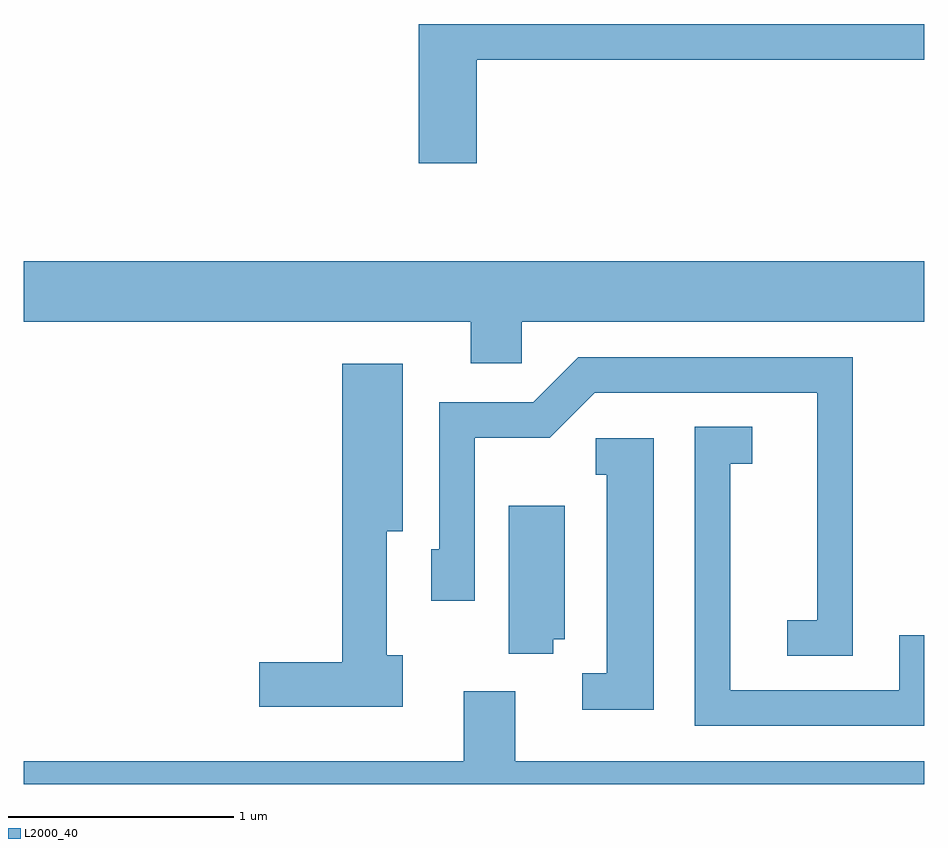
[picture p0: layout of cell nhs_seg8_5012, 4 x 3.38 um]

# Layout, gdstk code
import gdstk
lib = gdstk.Library(unit=1e-6, precision=1e-09)
def P(c, l, *ps):  # polygons
    for p in ps: c.add(gdstk.Polygon(p, *l))
L2000_40 = (2000, 40)

nhs_seg8_5012 = lib.new_cell('nhs_seg8_5012')
P(nhs_seg8_5012, L2000_40, [(337.624,1857.561),(339.611,1857.561),(339.611,1857.719),(337.366,1857.719),(337.366,1857.101),(337.624,1857.101)],
  [(337.824,1856.396),(339.611,1856.396),(339.611,1856.664),(335.611,1856.664),(335.611,1856.396),(337.596,1856.396),(337.596,1856.211),(337.824,1856.211)],
  [(339.294,1856.239),(338.074,1856.239),(337.874,1856.039),(337.456,1856.039),(337.456,1855.384),(337.421,1855.384),(337.421,1855.156),(337.614,1855.156),(337.614,1855.881),(337.947,1855.881),(338.147,1856.081),(339.136,1856.081),(339.136,1855.069),(339.003,1855.069),(339.003,1854.911),(339.294,1854.911)],
  [(337.294,1854.914),(337.224,1854.914),(337.224,1855.466),(337.294,1855.466),(337.294,1856.209),(337.026,1856.209),(337.026,1854.884),(336.656,1854.884),(336.656,1854.686),(337.294,1854.686)],
  [(339.611,1855.004),(339.501,1855.004),(339.501,1854.759),(338.749,1854.759),(338.749,1855.766),(338.848,1855.766),(338.848,1855.929),(338.591,1855.929),(338.591,1854.601),(339.611,1854.601)],
  [(338.409,1855.879),(338.153,1855.879),(338.153,1855.716),(338.201,1855.716),(338.201,1854.834),(338.093,1854.834),(338.093,1854.671),(338.409,1854.671)],
  [(337.964,1854.986),(338.014,1854.986),(338.014,1855.579),(337.766,1855.579),(337.766,1854.921),(337.964,1854.921)],
  [(339.611,1854.444),(337.794,1854.444),(337.794,1854.754),(337.566,1854.754),(337.566,1854.444),(335.611,1854.444),(335.611,1854.342),(339.611,1854.342)])

lib.write_gds('nhs_seg8_5012.gds')
